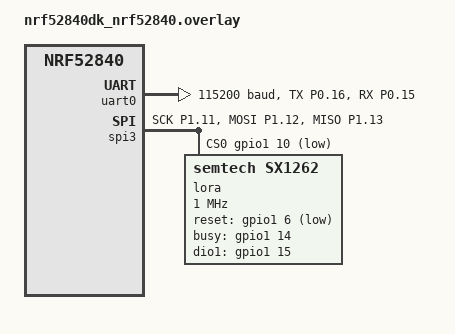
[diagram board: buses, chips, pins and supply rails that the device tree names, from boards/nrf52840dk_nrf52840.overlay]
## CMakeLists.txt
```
cmake_minimum_required(VERSION 3.20.0)
find_package(Zephyr REQUIRED HINTS $ENV{ZEPHYR_BASE})
project(lora_ble_peripheral)

target_sources(app PRIVATE src/main.c)
```

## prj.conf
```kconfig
# General
CONFIG_LOG=y
CONFIG_LOG_DEFAULT_LEVEL=3
CONFIG_PRINTK=y

# Bluetooth
CONFIG_BT=y
CONFIG_BT_PERIPHERAL=y
CONFIG_BT_DEVICE_NAME="REVITA_RX"
CONFIG_BT_MAX_CONN=1
CONFIG_BT_MAX_PAIRED=1
CONFIG_BT_SMP=n
CONFIG_BT_CTLR_TX_PWR_PLUS_8=y
CONFIG_BT_GATT_DYNAMIC_DB=y

# Console/UART
CONFIG_CONSOLE=y
CONFIG_UART_CONSOLE=y
CONFIG_SERIAL=y

# LoRa
CONFIG_LORA=y
CONFIG_LORA_SX126X=y
CONFIG_SPI=y
CONFIG_GPIO=y

# Main stack size for LoRa operations
CONFIG_MAIN_STACK_SIZE=4096
```

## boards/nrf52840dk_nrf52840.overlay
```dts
/* REVITA_LINK UART + LoRa (RAK4630/SX1262) configuration */

/ {
    aliases {
        lora0 = &lora;
    };
};

&pinctrl {
    /* UART for debug output - P0.16 TX, P0.15 RX */
    uart0_default: uart0_default {
        group1 {
            psels = <NRF_PSEL(UART_TX, 0, 16)>;
        };
        group2 {
            psels = <NRF_PSEL(UART_RX, 0, 15)>;
            bias-pull-up;
        };
    };

    uart0_sleep: uart0_sleep {
        group1 {
            psels = <NRF_PSEL(UART_TX, 0, 16)>,
                    <NRF_PSEL(UART_RX, 0, 15)>;
            low-power-enable;
        };
    };

    /* SPI3 for LoRa - RAK4630 (using SPIM3) */
    spi3_default: spi3_default {
        group1 {
            psels = <NRF_PSEL(SPIM_SCK, 1, 11)>,
                    <NRF_PSEL(SPIM_MOSI, 1, 12)>,
                    <NRF_PSEL(SPIM_MISO, 1, 13)>;
        };
    };

    spi3_sleep: spi3_sleep {
        group1 {
            psels = <NRF_PSEL(SPIM_SCK, 1, 11)>,
                    <NRF_PSEL(SPIM_MOSI, 1, 12)>,
                    <NRF_PSEL(SPIM_MISO, 1, 13)>;
            low-power-enable;
        };
    };
};

&uart0 {
    status = "okay";
    current-speed = <115200>;
    pinctrl-0 = <&uart0_default>;
    pinctrl-1 = <&uart0_sleep>;
    pinctrl-names = "default", "sleep";
};

&spi3 {
    compatible = "nordic,nrf-spim";
    status = "okay";
    pinctrl-0 = <&spi3_default>;
    pinctrl-1 = <&spi3_sleep>;
    pinctrl-names = "default", "sleep";
    cs-gpios = <&gpio1 10 GPIO_ACTIVE_LOW>;

    lora: sx1262@0 {
        compatible = "semtech,sx1262";
        reg = <0>;
        spi-max-frequency = <1000000>;
        reset-gpios = <&gpio1 6 GPIO_ACTIVE_LOW>;
        busy-gpios = <&gpio1 14 GPIO_ACTIVE_HIGH>;
        dio1-gpios = <&gpio1 15 GPIO_ACTIVE_HIGH>;
        dio2-tx-enable;
        dio3-tcxo-voltage = <0x07>;
    };
};
```

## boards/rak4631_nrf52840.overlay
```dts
/* REVITA_LINK overlay for RAK4631 - LoRa already configured in board DTS */
/* UART1 (P0.16/P0.15) is already console, LoRa (SX1262) is already configured */

/* No additional configuration needed - using board defaults */
```

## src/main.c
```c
/*
 * LoRa + BLE Peripheral (RX) - Target2
 * - BLE: Advertises as "REVITA_RX", receives and echoes via notify
 * - LoRa: Receives and echoes back
 */

#include <zephyr/kernel.h>
#include <zephyr/device.h>
#include <zephyr/drivers/lora.h>
#include <zephyr/bluetooth/bluetooth.h>
#include <zephyr/bluetooth/hci.h>
#include <zephyr/bluetooth/conn.h>
#include <zephyr/bluetooth/uuid.h>
#include <zephyr/bluetooth/gatt.h>
#include <zephyr/sys/printk.h>
#include <zephyr/sys/byteorder.h>
#include <string.h>

/* LoRa device */
#define LORA_DEV DEVICE_DT_GET(DT_ALIAS(lora0))

/* LoRa configuration */
#define LORA_FREQUENCY      923000000
#define LORA_BANDWIDTH      BW_125_KHZ
#define LORA_SPREADING      SF_7
#define LORA_CODING_RATE    CR_4_5
#define LORA_TX_POWER       14

/* BLE UUIDs */
#define BT_UUID_REVITA_SERVICE_VAL \
    BT_UUID_128_ENCODE(0x12345678, 0x1234, 0x5678, 0x1234, 0x56789abcdef0)
#define BT_UUID_REVITA_SERVICE BT_UUID_DECLARE_128(BT_UUID_REVITA_SERVICE_VAL)

#define BT_UUID_REVITA_RX_VAL \
    BT_UUID_128_ENCODE(0x12345678, 0x1234, 0x5678, 0x1234, 0x56789abcdef1)
#define BT_UUID_REVITA_RX BT_UUID_DECLARE_128(BT_UUID_REVITA_RX_VAL)

#define BT_UUID_REVITA_TX_VAL \
    BT_UUID_128_ENCODE(0x12345678, 0x1234, 0x5678, 0x1234, 0x56789abcdef2)
#define BT_UUID_REVITA_TX BT_UUID_DECLARE_128(BT_UUID_REVITA_TX_VAL)

/* Global state */
static const struct device *lora_dev;
static bool lora_ready;
static struct bt_conn *ble_conn;
static bool notify_enabled;

/* LoRa packet structure */
struct lora_packet {
    uint32_t counter;
    uint8_t type;  /* 'T' for TX, 'R' for RX echo */
};

/* BLE CCC callback */
static void ccc_cfg_changed(const struct bt_gatt_attr *attr, uint16_t value)
{
    notify_enabled = (value == BT_GATT_CCC_NOTIFY);
    printk("BLE notify %s\n", notify_enabled ? "ON" : "OFF");
}

/* Forward declaration */
static ssize_t ble_rx_write_cb(struct bt_conn *conn,
                               const struct bt_gatt_attr *attr,
                               const void *buf, uint16_t len,
                               uint16_t offset, uint8_t flags);

/* BLE GATT Service */
BT_GATT_SERVICE_DEFINE(revita_svc,
    BT_GATT_PRIMARY_SERVICE(BT_UUID_REVITA_SERVICE),
    BT_GATT_CHARACTERISTIC(BT_UUID_REVITA_RX,
                           BT_GATT_CHRC_WRITE | BT_GATT_CHRC_WRITE_WITHOUT_RESP,
                           BT_GATT_PERM_WRITE,
                           NULL, ble_rx_write_cb, NULL),
    BT_GATT_CHARACTERISTIC(BT_UUID_REVITA_TX,
                           BT_GATT_CHRC_NOTIFY,
                           BT_GATT_PERM_NONE,
                           NULL, NULL, NULL),
    BT_GATT_CCC(ccc_cfg_changed, BT_GATT_PERM_READ | BT_GATT_PERM_WRITE),
);

/* BLE RX write callback - echo back */
static ssize_t ble_rx_write_cb(struct bt_conn *conn,
                               const struct bt_gatt_attr *attr,
                               const void *buf, uint16_t len,
                               uint16_t offset, uint8_t flags)
{
    if (len >= sizeof(uint32_t)) {
        uint32_t received;
        memcpy(&received, buf, sizeof(received));
        printk("BLE RX: %u\n", received);

        if (notify_enabled && ble_conn) {
            const struct bt_gatt_attr *tx_attr = &revita_svc.attrs[4];
            bt_gatt_notify(conn, tx_attr, buf, len);
            printk("BLE TX (echo): %u\n", received);
        }
    }
    return len;
}

/* BLE Advertising */
static const struct bt_data ad[] = {
    BT_DATA_BYTES(BT_DATA_FLAGS, (BT_LE_AD_GENERAL | BT_LE_AD_NO_BREDR)),
    BT_DATA(BT_DATA_NAME_COMPLETE, "REVITA_RX", 9),
};

static const struct bt_data sd[] = {
    BT_DATA_BYTES(BT_DATA_UUID128_ALL, BT_UUID_REVITA_SERVICE_VAL),
};

static struct bt_le_adv_param adv_param = BT_LE_ADV_PARAM_INIT(
    BT_LE_ADV_OPT_CONN,
    BT_GAP_ADV_FAST_INT_MIN_2,
    BT_GAP_ADV_FAST_INT_MAX_2,
    NULL
);

static void start_advertising(void)
{
    bt_le_adv_start(&adv_param, ad, ARRAY_SIZE(ad), sd, ARRAY_SIZE(sd));
    printk("BLE advertising\n");
}

static void ble_connected(struct bt_conn *conn, uint8_t err)
{
    if (err) return;
    ble_conn = bt_conn_ref(conn);
    printk("BLE connected\n");
}

static void ble_disconnected(struct bt_conn *conn, uint8_t reason)
{
    printk("BLE disconnected\n");
    if (ble_conn) {
        bt_conn_unref(ble_conn);
        ble_conn = NULL;
    }
    notify_enabled = false;
    start_advertising();
}

BT_CONN_CB_DEFINE(conn_cbs) = {
    .connected = ble_connected,
    .disconnected = ble_disconnected,
};

/* LoRa init */
static int lora_init(void)
{
    printk("LoRa: Checking device...\n");

    if (!device_is_ready(lora_dev)) {
        printk("LoRa: Device not ready\n");
        return -1;
    }
    printk("LoRa: Device ready\n");

    struct lora_modem_config config = {
        .frequency = LORA_FREQUENCY,
        .bandwidth = LORA_BANDWIDTH,
        .datarate = LORA_SPREADING,
        .coding_rate = LORA_CODING_RATE,
        .preamble_len = 8,
        .tx_power = LORA_TX_POWER,
        .tx = false,  /* Start in RX mode */
    };

    printk("LoRa: Configuring...\n");
    int ret = lora_config(lora_dev, &config);
    if (ret < 0) {
        printk("LoRa: Config failed: %d\n", ret);
        return ret;
    }

    printk("LoRa: Initialized %d MHz, SF%d, BW125kHz\n",
           LORA_FREQUENCY / 1000000, 7);
    return 0;
}

/* LoRa send echo */
static void lora_send_echo(uint32_t cnt)
{
    struct lora_modem_config config = {
        .frequency = LORA_FREQUENCY,
        .bandwidth = LORA_BANDWIDTH,
        .datarate = LORA_SPREADING,
        .coding_rate = LORA_CODING_RATE,
        .preamble_len = 8,
        .tx_power = LORA_TX_POWER,
        .tx = true,
    };
    lora_config(lora_dev, &config);

    struct lora_packet pkt = {
        .counter = cnt,
        .type = 'R'  /* Echo response */
    };

    int ret = lora_send(lora_dev, (uint8_t *)&pkt, sizeof(pkt));
    if (ret == 0) {
        printk("LoRa TX (echo): %u\n", cnt);
    }
}

/* LoRa RX thread */
static void lora_rx_thread(void)
{
    uint8_t buf[32];
    int16_t rssi;
    int8_t snr;

    /* Wait for LoRa init */
    while (!lora_ready) {
        k_sleep(K_MSEC(100));
    }

    printk("LoRa: RX thread started\n");

    while (1) {
        /* Configure for RX */
        struct lora_modem_config config = {
            .frequency = LORA_FREQUENCY,
            .bandwidth = LORA_BANDWIDTH,
            .datarate = LORA_SPREADING,
            .coding_rate = LORA_CODING_RATE,
            .preamble_len = 8,
            .tx_power = LORA_TX_POWER,
            .tx = false,
        };
        lora_config(lora_dev, &config);

        int len = lora_recv(lora_dev, buf, sizeof(buf), K_MSEC(500), &rssi, &snr);
        if (len > 0 && len >= sizeof(struct lora_packet)) {
            struct lora_packet *pkt = (struct lora_packet *)buf;
            if (pkt->type == 'T') {
                printk("LoRa RX: %u | RSSI: %d | SNR: %d -> Echo\n",
                       pkt->counter, rssi, snr);
                /* Send echo back */
                k_sleep(K_MSEC(10));
                lora_send_echo(pkt->counter);
            }
        }
    }
}

K_THREAD_DEFINE(lora_rx_tid, 2048, lora_rx_thread, NULL, NULL, NULL, 7, 0, 0);

int main(void)
{
    printk("\n========================================\n");
    printk("LoRa + BLE Peripheral (RX) - Target2\n");
    printk("========================================\n\n");

    /* Init BLE FIRST */
    printk("Initializing BLE...\n");
    if (bt_enable(NULL)) {
        printk("BLE init failed!\n");
        return 0;
    }
    printk("BLE initialized\n");
    start_advertising();

    /* Init LoRa after BLE is running */
    printk("Initializing LoRa...\n");
    lora_dev = LORA_DEV;
    if (lora_init() < 0) {
        printk("LoRa init failed! Continuing with BLE only.\n");
    } else {
        lora_ready = true;
        printk("LoRa ready\n");
    }

    /* Main loop */
    while (1) {
        k_sleep(K_SECONDS(10));
    }

    return 0;
}
```
